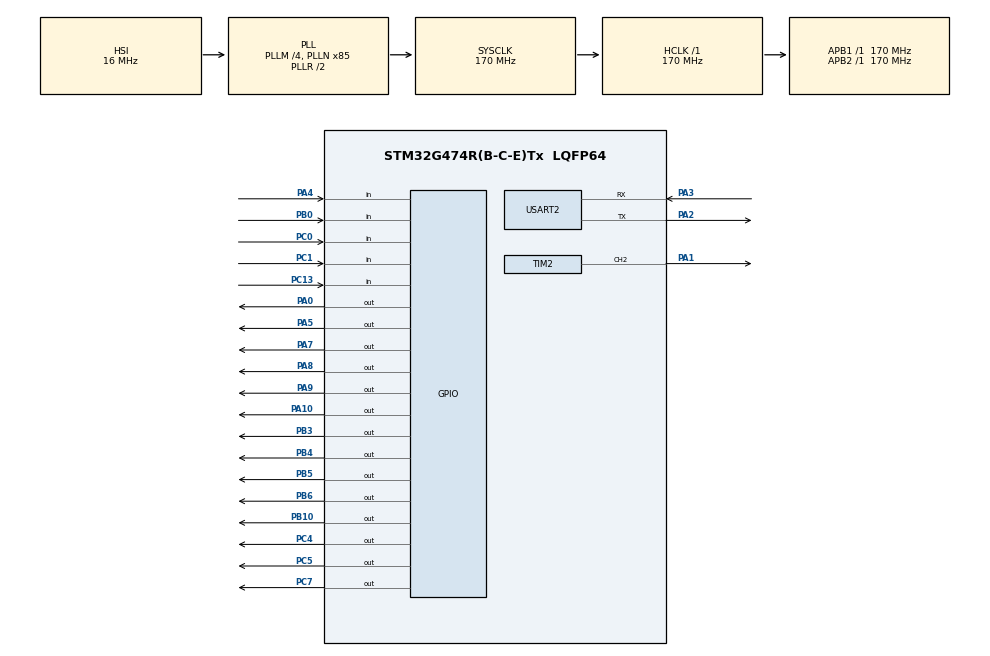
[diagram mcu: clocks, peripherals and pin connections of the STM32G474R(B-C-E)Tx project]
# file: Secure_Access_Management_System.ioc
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FREERTOS.Tasks01=AccessControl,24,256,AccessControlTask,Default,NULL,Dynamic,NULL,NULL;Button,32,128,ButtonTask,Default,NULL,Dynamic,NULL,NULL;KeyboardTask,40,128,KeyboardInput,Default,NULL,Dynamic,NULL,NULL;ServoMotor,41,128,ServoTask,Default,NULL,Dynamic,NULL,NULL;LCDtask,40,128,lcdTask,Default,NULL,Dynamic,NULL,NULL
Mcu.Family=STM32G4
Mcu.Name=STM32G474R(B-C-E)Tx
Mcu.Package=LQFP64
NVIC.PriorityGroup=NVIC_PRIORITYGROUP_4
NVIC.TIM6_DAC_IRQn=true\:15\:0\:false\:false\:true\:false\:false\:true\:true
NVIC.TimeBase=TIM6_DAC_IRQn
NVIC.TimeBaseIP=TIM6
NVIC.USART2_IRQn=true\:5\:0\:false\:false\:true\:true\:true\:true\:true
PA0.Signal=GPIO_Output
PA1.Signal=S_TIM2_CH2
PA10.Signal=GPIO_Output
PA13.Mode=Serial_Wire
PA13.Signal=SYS_JTMS-SWDIO
PA14.Mode=Serial_Wire
PA14.Signal=SYS_JTCK-SWCLK
PA2.Mode=Asynchronous
PA2.Signal=USART2_TX
PA3.Mode=Asynchronous
PA3.Signal=USART2_RX
PA4.GPIO_PuPd=GPIO_PULLUP
PA4.Signal=GPIO_Input
PA5.Signal=GPIO_Output
PA7.Signal=GPIO_Output
PA8.Signal=GPIO_Output
PA9.Signal=GPIO_Output
PB0.GPIO_PuPd=GPIO_PULLUP
PB0.Signal=GPIO_Input
PB10.Signal=GPIO_Output
PB3.Signal=GPIO_Output
PB4.Signal=GPIO_Output
PB5.Signal=GPIO_Output
PB6.Signal=GPIO_Output
PC0.GPIO_PuPd=GPIO_PULLUP
PC0.Signal=GPIO_Input
PC1.GPIO_PuPd=GPIO_PULLUP
PC1.Signal=GPIO_Input
PC13.GPIO_PuPd=GPIO_PULLDOWN
PC13.Signal=GPIO_Input
PC4.Signal=GPIO_Output
PC5.Signal=GPIO_Output
PC7.Signal=GPIO_Output
PF0-OSC_IN.Mode=HSE-External-Oscillator
PF0-OSC_IN.Signal=RCC_OSC_IN
PF1-OSC_OUT.Mode=HSE-External-Oscillator
PF1-OSC_OUT.Signal=RCC_OSC_OUT
ProjectManager.HeapSize=0x200
ProjectManager.StackSize=0x400
ProjectManager.TargetToolchain=STM32CubeIDE
RCC.ADC12Freq_Value=170000000
RCC.ADC345Freq_Value=170000000
RCC.AHBFreq_Value=170000000
RCC.APB1Freq_Value=170000000
RCC.APB1TimFreq_Value=170000000
RCC.APB2Freq_Value=170000000
RCC.APB2TimFreq_Value=170000000
RCC.CortexFreq_Value=170000000
RCC.EXTERNAL_CLOCK_VALUE=12288000
RCC.HCLKFreq_Value=170000000
RCC.HSE_VALUE=24000000
RCC.HSI48_VALUE=48000000
RCC.HSI_VALUE=16000000
RCC.LSE_VALUE=32768
RCC.PLLM=RCC_PLLM_DIV4
RCC.PLLN=85
RCC.RTCClockSelection=RCC_RTCCLKSOURCE_LSE
RCC.SYSCLKFreq_VALUE=170000000
RCC.SYSCLKSource=RCC_SYSCLKSOURCE_PLLCLK
RCC.USBFreq_Value=170000000
RCC.VCOOutputFreq_Value=340000000
SH.S_TIM2_CH2.0=TIM2_CH2,PWM Generation2 CH2
TIM1.PeriodNoDither=0xffff
TIM1.Prescaler=170-1
TIM2.Channel-PWM\ Generation2\ CH2=TIM_CHANNEL_2
TIM2.PeriodNoDither=10000-1
TIM2.Prescaler=340-1
USART2.VirtualMode-Asynchronous=VM_ASYNC
VP_FREERTOS_VS_CMSIS_V2.Mode=CMSIS_V2
VP_SYS_VS_DBSignals.Mode=DisableDeadBatterySignals
VP_SYS_VS_tim6.Mode=TIM6
VP_TIM1_VS_ClockSourceINT.Mode=Internal
VP_TIM2_VS_ClockSourceINT.Mode=Internal
board=NUCLEO-G474RE

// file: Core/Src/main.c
/* USER CODE BEGIN Header */
/**
  ******************************************************************************
  * @file           : main.c
  * @brief          : Main program body
  ******************************************************************************
  * @attention
  *
  * Copyright (c) 2026 STMicroelectronics.
  * All rights reserved.
  *
  * This software is licensed under terms that can be found in the LICENSE file
  * in the root directory of this software component.
  * If no LICENSE file comes with this software, it is provided AS-IS.
  *
  ******************************************************************************
  */
/* USER CODE END Header */

#include "main.h"
#include "cmsis_os.h"

/* USER CODE BEGIN Includes */

#include <stdio.h>
#include <string.h>
#include "LCD1602.h"
#include <stdint.h>

/* USER CODE END Includes */

/* USER CODE BEGIN PD */
#define PIN_LENGTH 4
#define MAX_NAME_LEN 16
#define MAX_USERS 10
#define LOCKOUT_MS 10000
#define AUTO_LOCK_MS 5000
/* USER CODE END PD */

/* USER CODE BEGIN PTD */
typedef enum
{
    STATE_LOCKED,
    STATE_UNLOCKED
} AccessState_t;

typedef struct {
    char pin[PIN_LENGTH + 1];       // 4-digit PIN + null terminator
    char name[MAX_NAME_LEN + 1];    // User's name
    uint8_t active;                 // 1 if this user slot is in use
} UserAccount_t;

typedef enum
{
    UART_MODE_MENU,         // Waiting for the user to select a menu option
    UART_MODE_ADD_NAME,     // Waiting for the user to enter a new user's name
    UART_MODE_ADD_PIN       // Waiting for the user to enter the new user's PIN
} UartMode_t;
/* USER CODE END PTD */

TIM_HandleTypeDef htim1;
TIM_HandleTypeDef htim2;

UART_HandleTypeDef huart2;

/* Definitions for AccessControl */
osThreadId_t AccessControlHandle;
const osThreadAttr_t AccessControl_attributes = {
  .name = "AccessControl",
  .priority = (osPriority_t) osPriorityNormal,
  .stack_size = 256 * 4
};
/* Definitions for Button */
osThreadId_t ButtonHandle;
const osThreadAttr_t Button_attributes = {
  .name = "Button",
  .priority = (osPriority_t) osPriorityAboveNormal,
  .stack_size = 128 * 4
};
/* Definitions for KeyboardTask */
osThreadId_t KeyboardTaskHandle;
const osThreadAttr_t KeyboardTask_attributes = {
  .name = "KeyboardTask",
  .priority = (osPriority_t) osPriorityHigh,
  .stack_size = 128 * 4
};
/* Definitions for ServoMotor */
osThreadId_t ServoMotorHandle;
const osThreadAttr_t ServoMotor_attributes = {
  .name = "ServoMotor",
  .priority = (osPriority_t) osPriorityHigh1,
  .stack_size = 128 * 4
};
/* Definitions for LCDtask */
osThreadId_t LCDtaskHandle;
const osThreadAttr_t LCDtask_attributes = {
  .name = "LCDtask",
  .priority = (osPriority_t) osPriorityHigh,
  .stack_size = 128 * 4
};

/* USER CODE BEGIN PV */
// Current lock state of the system
volatile AccessState_t accessState = STATE_LOCKED;

// UART receive buffer and input tracking
uint8_t rx_idx;
uint8_t rx_data[1];
uint8_t rx_buffer[100];
uint8_t transfer_cplt;

// Keypad PIN input state
volatile uint8_t pin_ready = 0;
char pin_entered[PIN_LENGTH + 1] = {0};
volatile uint8_t enteringPin = 0;

// Failed PIN attempts and lockout state
volatile uint8_t failedAttempts = 0;
volatile uint8_t lockoutActive = 0;
uint32_t lockoutEndTick = 0;

// UART menu state and temporary new user data
volatile UartMode_t uartMode = UART_MODE_MENU;
char newUserName[MAX_NAME_LEN + 1] = {0};

// Auto-lock state and timing
volatile uint8_t autoLockActive = 0;
uint32_t autoLockEndTick = 0;

// Keypad mapping for the 4x4 matrix
const char keypad_map[4][4] = {
    {'1','4','7','*'},
    {'2','5','8','0'},
    {'3','6','9','#'},
    {'A','B','C','D'}
};
/* USER CODE END PV */

void SystemClock_Config(void);
static void MX_GPIO_Init(void);
static void MX_USART2_UART_Init(void);
static void MX_TIM2_Init(void);
static void MX_TIM1_Init(void);
void AccessControlTask(void *argument);
void ButtonTask(void *argument);
void KeyboardInput(void *argument);
void ServoTask(void *argument);
void lcdTask(void *argument);

static UserAccount_t userDb[MAX_USERS];
static int Db_AddUser(const char *name, const char *pin);
static void UART_ShowUsers(void);

int main(void)
{

  /* MCU Configuration--------------------------------------------------------*/

  /* Reset of all peripherals, Initializes the Flash interface and the Systick. */
  HAL_Init();

  /* Configure the system clock */
  SystemClock_Config();

  /* Initialize all configured peripherals */
  MX_GPIO_Init();
  MX_USART2_UART_Init();
  MX_TIM2_Init();
  MX_TIM1_Init();
  /* USER CODE BEGIN 2 */

  HAL_TIM_PWM_Start(&htim2, TIM_CHANNEL_2);

  HAL_UART_Receive_IT(&huart2, rx_data, 1);

  HAL_TIM_Base_Start(&htim1);

  /* USER CODE END 2 */

  /* Init scheduler */
  osKernelInitialize();

  /* Create the thread(s) */
  /* creation of AccessControl */
  AccessControlHandle = osThreadNew(AccessControlTask, NULL, &AccessControl_attributes);

  /* creation of Button */
  ButtonHandle = osThreadNew(ButtonTask, NULL, &Button_attributes);

  /* creation of KeyboardTask */
  KeyboardTaskHandle = osThreadNew(KeyboardInput, NULL, &KeyboardTask_attributes);

  /* creation of ServoMotor */
  ServoMotorHandle = osThreadNew(ServoTask, NULL, &ServoMotor_attributes);

  /* creation of LCDtask */
  LCDtaskHandle = osThreadNew(lcdTask, NULL, &LCDtask_attributes);

  /* Start scheduler */
  osKernelStart();

  /* We should never get here as control is now taken by the scheduler */

  /* Infinite loop */
  while (1)
  {

  }
}

void SystemClock_Config(void)
{
  RCC_OscInitTypeDef RCC_OscInitStruct = {0};
  RCC_ClkInitTypeDef RCC_ClkInitStruct = {0};

  /** Configure the main internal regulator output voltage
  */
  HAL_PWREx_ControlVoltageScaling(PWR_REGULATOR_VOLTAGE_SCALE1_BOOST);

  /** Initializes the RCC Oscillators according to the specified parameters
  * in the RCC_OscInitTypeDef structure.
  */
  RCC_OscInitStruct.OscillatorType = RCC_OSCILLATORTYPE_HSI;
  RCC_OscInitStruct.HSIState = RCC_HSI_ON;
  RCC_OscInitStruct.HSICalibrationValue = RCC_HSICALIBRATION_DEFAULT;
  RCC_OscInitStruct.PLL.PLLState = RCC_PLL_ON;
  RCC_OscInitStruct.PLL.PLLSource = RCC_PLLSOURCE_HSI;
  RCC_OscInitStruct.PLL.PLLM = RCC_PLLM_DIV4;
  RCC_OscInitStruct.PLL.PLLN = 85;
  RCC_OscInitStruct.PLL.PLLP = RCC_PLLP_DIV2;
  RCC_OscInitStruct.PLL.PLLQ = RCC_PLLQ_DIV2;
  RCC_OscInitStruct.PLL.PLLR = RCC_PLLR_DIV2;
  if (HAL_RCC_OscConfig(&RCC_OscInitStruct) != HAL_OK)
  {
    Error_Handler();
  }

  /** Initializes the CPU, AHB and APB buses clocks
  */
  RCC_ClkInitStruct.ClockType = RCC_CLOCKTYPE_HCLK|RCC_CLOCKTYPE_SYSCLK
                              |RCC_CLOCKTYPE_PCLK1|RCC_CLOCKTYPE_PCLK2;
  RCC_ClkInitStruct.SYSCLKSource = RCC_SYSCLKSOURCE_PLLCLK;
  RCC_ClkInitStruct.AHBCLKDivider = RCC_SYSCLK_DIV1;
  RCC_ClkInitStruct.APB1CLKDivider = RCC_HCLK_DIV1;
  RCC_ClkInitStruct.APB2CLKDivider = RCC_HCLK_DIV1;

  if (HAL_RCC_ClockConfig(&RCC_ClkInitStruct, FLASH_LATENCY_4) != HAL_OK)
  {
    Error_Handler();
  }
}

static void MX_TIM1_Init(void)
{

  TIM_ClockConfigTypeDef sClockSourceConfig = {0};
  TIM_MasterConfigTypeDef sMasterConfig = {0};

  htim1.Instance = TIM1;
  htim1.Init.Prescaler = 170-1;
  htim1.Init.CounterMode = TIM_COUNTERMODE_UP;
  htim1.Init.Period = 65535;
  htim1.Init.ClockDivision = TIM_CLOCKDIVISION_DIV1;
  htim1.Init.RepetitionCounter = 0;
  htim1.Init.AutoReloadPreload = TIM_AUTORELOAD_PRELOAD_DISABLE;
  if (HAL_TIM_Base_Init(&htim1) != HAL_OK)
  {
    Error_Handler();
  }
  sClockSourceConfig.ClockSource = TIM_CLOCKSOURCE_INTERNAL;
  if (HAL_TIM_ConfigClockSource(&htim1, &sClockSourceConfig) != HAL_OK)
  {
    Error_Handler();
  }
  sMasterConfig.MasterOutputTrigger = TIM_TRGO_RESET;
  sMasterConfig.MasterOutputTrigger2 = TIM_TRGO2_RESET;
  sMasterConfig.MasterSlaveMode = TIM_MASTERSLAVEMODE_DISABLE;
  if (HAL_TIMEx_MasterConfigSynchronization(&htim1, &sMasterConfig) != HAL_OK)
  {
    Error_Handler();
  }

}

static void MX_TIM2_Init(void)
{

  TIM_ClockConfigTypeDef sClockSourceConfig = {0};
  TIM_MasterConfigTypeDef sMasterConfig = {0};
  TIM_OC_InitTypeDef sConfigOC = {0};

  htim2.Instance = TIM2;
  htim2.Init.Prescaler = 340-1;
  htim2.Init.CounterMode = TIM_COUNTERMODE_UP;
  htim2.Init.Period = 9999;
  htim2.Init.ClockDivision = TIM_CLOCKDIVISION_DIV1;
  htim2.Init.AutoReloadPreload = TIM_AUTORELOAD_PRELOAD_DISABLE;
  if (HAL_TIM_Base_Init(&htim2) != HAL_OK)
  {
    Error_Handler();
  }
  sClockSourceConfig.ClockSource = TIM_CLOCKSOURCE_INTERNAL;
  if (HAL_TIM_ConfigClockSource(&htim2, &sClockSourceConfig) != HAL_OK)
  {
    Error_Handler();
  }
  if (HAL_TIM_PWM_Init(&htim2) != HAL_OK)
  {
    Error_Handler();
  }
  sMasterConfig.MasterOutputTrigger = TIM_TRGO_RESET;
  sMasterConfig.MasterSlaveMode = TIM_MASTERSLAVEMODE_DISABLE;
  if (HAL_TIMEx_MasterConfigSynchronization(&htim2, &sMasterConfig) != HAL_OK)
  {
    Error_Handler();
  }
  sConfigOC.OCMode = TIM_OCMODE_PWM1;
  sConfigOC.Pulse = 0;
  sConfigOC.OCPolarity = TIM_OCPOLARITY_HIGH;
  sConfigOC.OCFastMode = TIM_OCFAST_DISABLE;
  if (HAL_TIM_PWM_ConfigChannel(&htim2, &sConfigOC, TIM_CHANNEL_2) != HAL_OK)
  {
    Error_Handler();
  }
  HAL_TIM_MspPostInit(&htim2);

}

static void MX_USART2_UART_Init(void)
{

  huart2.Instance = USART2;
  huart2.Init.BaudRate = 115200;
  huart2.Init.WordLength = UART_WORDLENGTH_8B;
  huart2.Init.StopBits = UART_STOPBITS_1;
  huart2.Init.Parity = UART_PARITY_NONE;
  huart2.Init.Mode = UART_MODE_TX_RX;
  huart2.Init.HwFlowCtl = UART_HWCONTROL_NONE;
  huart2.Init.OverSampling = UART_OVERSAMPLING_16;
  huart2.Init.OneBitSampling = UART_ONE_BIT_SAMPLE_DISABLE;
  huart2.Init.ClockPrescaler = UART_PRESCALER_DIV1;
  huart2.AdvancedInit.AdvFeatureInit = UART_ADVFEATURE_NO_INIT;
  if (HAL_UART_Init(&huart2) != HAL_OK)
  {
    Error_Handler();
  }
  if (HAL_UARTEx_SetTxFifoThreshold(&huart2, UART_TXFIFO_THRESHOLD_1_8) != HAL_OK)
  {
    Error_Handler();
  }
  if (HAL_UARTEx_SetRxFifoThreshold(&huart2, UART_RXFIFO_THRESHOLD_1_8) != HAL_OK)
  {
    Error_Handler();
  }
  if (HAL_UARTEx_DisableFifoMode(&huart2) != HAL_OK)
  {
    Error_Handler();
  }

}

static void MX_GPIO_Init(void)
{
  GPIO_InitTypeDef GPIO_InitStruct = {0};

  /* GPIO Ports Clock Enable */
  __HAL_RCC_GPIOC_CLK_ENABLE();
  __HAL_RCC_GPIOF_CLK_ENABLE();
  __HAL_RCC_GPIOA_CLK_ENABLE();
  __HAL_RCC_GPIOB_CLK_ENABLE();

  /*Configure GPIO pin Output Level */
  HAL_GPIO_WritePin(GPIOA, GPIO_PIN_0|GPIO_PIN_5|GPIO_PIN_7|GPIO_PIN_8
                          |GPIO_PIN_9|GPIO_PIN_10, GPIO_PIN_RESET);

  /*Configure GPIO pin Output Level */
  HAL_GPIO_WritePin(GPIOC, GPIO_PIN_4|GPIO_PIN_5|GPIO_PIN_7, GPIO_PIN_RESET);

  /*Configure GPIO pin Output Level */
  HAL_GPIO_WritePin(GPIOB, GPIO_PIN_10|GPIO_PIN_3|GPIO_PIN_4|GPIO_PIN_5
                          |GPIO_PIN_6, GPIO_PIN_RESET);

  /*Configure GPIO pin : PC13 */
  GPIO_InitStruct.Pin = GPIO_PIN_13;
  GPIO_InitStruct.Mode = GPIO_MODE_INPUT;
  GPIO_InitStruct.Pull = GPIO_PULLDOWN;
  HAL_GPIO_Init(GPIOC, &GPIO_InitStruct);

  /*Configure GPIO pins : PC0 PC1 */
  GPIO_InitStruct.Pin = GPIO_PIN_0|GPIO_PIN_1;
  GPIO_InitStruct.Mode = GPIO_MODE_INPUT;
  GPIO_InitStruct.Pull = GPIO_PULLUP;
  HAL_GPIO_Init(GPIOC, &GPIO_InitStruct);

  /*Configure GPIO pins : PA0 PA5 PA7 PA8
                           PA9 PA10 */
  GPIO_InitStruct.Pin = GPIO_PIN_0|GPIO_PIN_5|GPIO_PIN_7|GPIO_PIN_8
                          |GPIO_PIN_9|GPIO_PIN_10;
  GPIO_InitStruct.Mode = GPIO_MODE_OUTPUT_PP;
  GPIO_InitStruct.Pull = GPIO_NOPULL;
  GPIO_InitStruct.Speed = GPIO_SPEED_FREQ_LOW;
  HAL_GPIO_Init(GPIOA, &GPIO_InitStruct);

  /*Configure GPIO pin : PA4 */
  GPIO_InitStruct.Pin = GPIO_PIN_4;
  GPIO_InitStruct.Mode = GPIO_MODE_INPUT;
  GPIO_InitStruct.Pull = GPIO_PULLUP;
  HAL_GPIO_Init(GPIOA, &GPIO_InitStruct);

  /*Configure GPIO pins : PC4 PC5 PC7 */
  GPIO_InitStruct.Pin = GPIO_PIN_4|GPIO_PIN_5|GPIO_PIN_7;
  GPIO_InitStruct.Mode = GPIO_MODE_OUTPUT_PP;
  GPIO_InitStruct.Pull = GPIO_NOPULL;
  GPIO_InitStruct.Speed = GPIO_SPEED_FREQ_LOW;
  HAL_GPIO_Init(GPIOC, &GPIO_InitStruct);

  /*Configure GPIO pin : PB0 */
  GPIO_InitStruct.Pin = GPIO_PIN_0;
  GPIO_InitStruct.Mode = GPIO_MODE_INPUT;
  GPIO_InitStruct.Pull = GPIO_PULLUP;
  HAL_GPIO_Init(GPIOB, &GPIO_InitStruct);

  /*Configure GPIO pins : PB10 PB3 PB4 PB5
                           PB6 */
  GPIO_InitStruct.Pin = GPIO_PIN_10|GPIO_PIN_3|GPIO_PIN_4|GPIO_PIN_5
                          |GPIO_PIN_6;
  GPIO_InitStruct.Mode = GPIO_MODE_OUTPUT_PP;
  GPIO_InitStruct.Pull = GPIO_NOPULL;
  GPIO_InitStruct.Speed = GPIO_SPEED_FREQ_LOW;
  HAL_GPIO_Init(GPIOB, &GPIO_InitStruct);

}

/* USER CODE BEGIN 4 */
static int Db_AddUser(const char *name, const char *pin)
{
    // Prevent multiple users from having the same PIN
    for (int i = 0; i < MAX_USERS; i++)
    {
        if (userDb[i].active && strcmp(userDb[i].pin, pin) == 0)
        {
            return -2;   // PIN already exists
        }
    }

    // Store the new user in the first available slot
    for (int i = 0; i < MAX_USERS; i++)
    {
        if (!userDb[i].active)
        {
            strncpy(userDb[i].name, name, MAX_NAME_LEN);
            userDb[i].name[MAX_NAME_LEN] = '\0';

            strncpy(userDb[i].pin, pin, PIN_LENGTH);
            userDb[i].pin[PIN_LENGTH] = '\0';

            userDb[i].active = 1;
            return i;
        }
    }
    return -1;   // No available slots for the user
}

// Displays the active user list in the terminal over UART
static void UART_ShowUsers(void)
{
    char line[64];

    HAL_UART_Transmit(&huart2,
                      (uint8_t*)"\r\n--- User List ---\r\n",
                      strlen("\r\n--- User List ---\r\n"),
                      HAL_MAX_DELAY);

    for (int i = 0; i < MAX_USERS; i++)
    {
        if (userDb[i].active)
        {
            snprintf(line, sizeof(line), "%d. %s - PIN: %s\r\n",
                     i + 1, userDb[i].name, userDb[i].pin);
            HAL_UART_Transmit(&huart2, (uint8_t*)line, strlen(line), HAL_MAX_DELAY);
        }
    }
}

// Displays the masked PIN on the LCD as the user enters it.
static void LCD_ShowMaskedPin(uint8_t count)
{
    char stars[PIN_LENGTH + 1] = {0};

    // Build a masked string of asterisks based on the number of entered digits
    for (uint8_t i = 0; i < count && i < PIN_LENGTH; i++)
    {
        stars[i] = '*';
    }

    lcd_clear();
    lcd_put_cur(0, 0);
    lcd_send_string("ENTER PIN:");

    lcd_put_cur(1, 0);
    lcd_send_string("                ");
    lcd_put_cur(1, 0);
    lcd_send_string(stars);
}

// Scans the 4x4 keypad and returns the character of the pressed key, or '\0' if no key is pressed.
char scan_keypad(void)
{
    GPIO_TypeDef* row_ports[] = {GPIOA, GPIOC, GPIOB, GPIOA};
    uint16_t row_pins[] = {GPIO_PIN_9, GPIO_PIN_7, GPIO_PIN_6, GPIO_PIN_7};

    for (int row = 0; row < 4; row++)
    {
        // Set all rows HIGH before scanning the current row
        HAL_GPIO_WritePin(GPIOA, GPIO_PIN_9, GPIO_PIN_SET);
        HAL_GPIO_WritePin(GPIOC, GPIO_PIN_7, GPIO_PIN_SET);
        HAL_GPIO_WritePin(GPIOB, GPIO_PIN_6, GPIO_PIN_SET);
        HAL_GPIO_WritePin(GPIOA, GPIO_PIN_7, GPIO_PIN_SET);

        // Pull the current row LOW
        HAL_GPIO_WritePin(row_ports[row], row_pins[row], GPIO_PIN_RESET);

        // A LOW column indicates a pressed key in the current row
        if (HAL_GPIO_ReadPin(GPIOB, GPIO_PIN_0) == GPIO_PIN_RESET) return keypad_map[row][0];
        if (HAL_GPIO_ReadPin(GPIOA, GPIO_PIN_4) == GPIO_PIN_RESET) return keypad_map[row][1];
        if (HAL_GPIO_ReadPin(GPIOC, GPIO_PIN_1) == GPIO_PIN_RESET) return keypad_map[row][2];
        if (HAL_GPIO_ReadPin(GPIOC, GPIO_PIN_0) == GPIO_PIN_RESET) return keypad_map[row][3];
    }
    return '\0'; // No key pressed
}

// Displays the menu options in the UART terminal
void PrintMenu(void)
{
    const char *menu =
        "\r\n--- Secure Access System ---\r\n\n"
        "1 - Unlock door\r\n"
        "2 - Lock door\r\n"
        "3 - Status\r\n"
        "4 - Add user\r\n"
        "5 - View users\r\n"
        "> ";

    HAL_UART_Transmit(&huart2, (uint8_t*)menu, strlen(menu), HAL_MAX_DELAY);
}

// Clears UART terminal screen
void ClearScreen(void)
{
    HAL_UART_Transmit(&huart2, (uint8_t*)"\033[2J\033[H", 7, HAL_MAX_DELAY);
}

// Display the current access state on the LCD
static void LCD_ShowState(AccessState_t state)
{
    lcd_clear();
    lcd_put_cur(0, 0);
    lcd_send_string(" ACCESS  SYSTEM");
    lcd_put_cur(1, 0);

    if (state == STATE_LOCKED)
    {
        lcd_send_string("     LOCKED");
    }
    else
    {
        lcd_send_string("    UNLOCKED");
    }
}

// Initialises the user database
static void Db_Init(void)
{
    memset(userDb, 0, sizeof(userDb));

    strcpy(userDb[0].pin, "4567");
    strcpy(userDb[0].name, "User1");
    userDb[0].active = 1;

    strcpy(userDb[1].pin, "4444");
    strcpy(userDb[1].name, "User2");
    userDb[1].active = 1;

    strcpy(userDb[2].pin, "1111");
    strcpy(userDb[2].name, "User3");
    userDb[2].active = 1;

    strcpy(userDb[3].pin, "1234");
    strcpy(userDb[3].name, "User4");
    userDb[3].active = 1;
}

// Searches the database for a matching pin
static int Db_FindByPin(const char *pin)
{
    for (int i = 0; i < MAX_USERS; i++)
    {
        if (userDb[i].active && strcmp(userDb[i].pin, pin) == 0)
            return i;
    }
    return -1;
}

/* Handles received UART characters using interrupt-driven input
 * Characters are added to the receive buffer until ENTER is pressed.
 * Line-feed characters are ignored and input is echoed back to the terminal.
*/
void HAL_UART_RxCpltCallback(UART_HandleTypeDef *huart)
{
  /* Prevent unused argument(s) compilation warning */
  UNUSED(huart);

  if (huart->Instance == USART2)
  {
      // Ignore line-feed characters
      if (rx_data[0] == '\n')
      {
          // do nothing
      }
      // ENTER pressed - terminate the string and mark input as complete
      else if (rx_data[0] == '\r')
      {
          rx_buffer[rx_idx] = '\0';
          rx_idx = 0;
          transfer_cplt = 1;

          HAL_UART_Transmit(&huart2, (uint8_t*)"\r\n", 2, HAL_MAX_DELAY);
      }
      else
      {
          // Store the received character if space remains in the buffer
          if (rx_idx < sizeof(rx_buffer) - 1)
          {
              rx_buffer[rx_idx++] = rx_data[0];

              // Echo the received character back to the terminal
              HAL_UART_Transmit(&huart2, rx_data, 1, HAL_MAX_DELAY); // echo
          }
      }

      // Re-enable interrupt reception for the next character
      HAL_UART_Receive_IT(&huart2, rx_data, 1);
  }
}

/* USER CODE END 4 */

void AccessControlTask(void *argument)
{
  /* USER CODE BEGIN 5 */
    accessState = STATE_LOCKED; // Initialise system state
    lcd_init(); // Initialise the LCD
    lcd_clear(); // Clear the LCD screen
    LCD_ShowState(STATE_LOCKED); // Initialise LCD
    Db_Init(); // Initialise the user database

    // Set LEDs to match default state
    HAL_GPIO_WritePin(GPIOA, GPIO_PIN_8, GPIO_PIN_SET);    // Red ON
    HAL_GPIO_WritePin(GPIOB, GPIO_PIN_3, GPIO_PIN_RESET);  // Green OFF

    // Display the UART menu
    ClearScreen();
    PrintMenu();

    uint32_t lastRemaining = 999;

    for (;;)
    {
        // Handle lockout countdown
        if (lockoutActive)
        {
            uint32_t now = HAL_GetTick();

            if (now >= lockoutEndTick)
            {
                lockoutActive = 0;
                failedAttempts = 0;
                lastRemaining = 999;
                enteringPin = 0;

                lcd_clear();
                lcd_put_cur(0, 0);
                lcd_send_string("LOCKOUT ENDED");
                lcd_put_cur(1, 0);
                lcd_send_string("Try again");

                HAL_UART_Transmit(&huart2,
                                  (uint8_t*)"\r\nLockout ended\r\n",
                                  strlen("\r\nLockout ended\r\n"),
                                  HAL_MAX_DELAY);

                osDelay(1500);
                LCD_ShowState(accessState);
                PrintMenu();
            }
            else
            {
                uint32_t remaining = (lockoutEndTick - now + 999) / 1000;

                if (remaining != lastRemaining)
                {
                    lastRemaining = remaining;

                    lcd_clear();
                    lcd_put_cur(0, 0);
                    lcd_send_string("LOCKED OUT");

                    char line[17];
                    snprintf(line, sizeof(line), "Wait %lus", remaining);
                    lcd_put_cur(1, 0);
                    lcd_send_string("                ");
                    lcd_put_cur(1, 0);
                    lcd_send_string(line);
                }

                osDelay(100);
                continue;
            }
        }
        // Automatically relock the system after the timeout
        if (autoLockActive && accessState == STATE_UNLOCKED)
        {
            if (HAL_GetTick() >= autoLockEndTick)
            {
                autoLockActive = 0;
                accessState = STATE_LOCKED;

                HAL_GPIO_WritePin(GPIOA, GPIO_PIN_8, GPIO_PIN_SET);     // Red ON
                HAL_GPIO_WritePin(GPIOB, GPIO_PIN_3, GPIO_PIN_RESET);   // Green OFF

                lcd_clear();
                lcd_put_cur(0, 0);
                lcd_send_string("AUTO LOCKED");
                lcd_put_cur(1, 0);
                lcd_send_string("Door secured");

                HAL_UART_Transmit(&huart2,
                                  (uint8_t*)"\r\nAuto-lock activated\r\n",
                                  strlen("\r\nAuto-lock activated\r\n"),
                                  HAL_MAX_DELAY);

                osDelay(1500);
                LCD_ShowState(accessState);
                PrintMenu();
            }
        }

        // Validate a PIN submitted from the keypad
        if (pin_ready)
        {
            pin_ready = 0;
            enteringPin = 0;

            int userIdx = Db_FindByPin(pin_entered);

            if (userIdx >= 0)
            {
                failedAttempts = 0;
                accessState = STATE_UNLOCKED;

                autoLockActive = 1;
                autoLockEndTick = HAL_GetTick() + AUTO_LOCK_MS;

                HAL_GPIO_WritePin(GPIOB, GPIO_PIN_3, GPIO_PIN_SET);     // Green ON
                HAL_GPIO_WritePin(GPIOA, GPIO_PIN_8, GPIO_PIN_RESET);   // Red OFF

                lcd_clear();
                lcd_put_cur(0, 0);
                lcd_send_string("ACCESS GRANTED");
                lcd_put_cur(1, 0);
                lcd_send_string(userDb[userIdx].name);

                char msg[64];
                snprintf(msg, sizeof(msg), "\r\nWelcome %s\r\n", userDb[userIdx].name);
                HAL_UART_Transmit(&huart2, (uint8_t*)msg, strlen(msg), HAL_MAX_DELAY);

                osDelay(1500);
                LCD_ShowState(accessState);
                PrintMenu();
            }
            else
            {
                accessState = STATE_LOCKED;
                failedAttempts++;

                HAL_GPIO_WritePin(GPIOA, GPIO_PIN_8, GPIO_PIN_SET);     // Red ON
                HAL_GPIO_WritePin(GPIOB, GPIO_PIN_3, GPIO_PIN_RESET);   // Green OFF

                if (failedAttempts >= 3)
                {
                    lockoutActive = 1;
                    lockoutEndTick = HAL_GetTick() + LOCKOUT_MS;
                    lastRemaining = 999;

                    lcd_clear();
                    lcd_put_cur(0, 0);
                    lcd_send_string("LOCKED OUT");
                    lcd_put_cur(1, 0);
                    lcd_send_string("Wait 10s");

                    HAL_UART_Transmit(&huart2,
                                      (uint8_t*)"\r\nToo many failed attempts. System locked for 10 seconds.\r\n",
                                      strlen("\r\nToo many failed attempts. System locked for 10 seconds.\r\n"),
                                      HAL_MAX_DELAY);

                    osDelay(1000);
                }
                else
                {
                    lcd_clear();
                    lcd_put_cur(0, 0);
                    lcd_send_string("ACCESS DENIED");

                    char line[17];
                    snprintf(line, sizeof(line), "Attempt %d of 3", failedAttempts);
                    lcd_put_cur(1, 0);
                    lcd_send_string("                ");
                    lcd_put_cur(1, 0);
                    lcd_send_string(line);

                    char msg[64];
                    snprintf(msg, sizeof(msg), "\r\nAccess denied (%d/3)\r\n", failedAttempts);
                    HAL_UART_Transmit(&huart2, (uint8_t*)msg, strlen(msg), HAL_MAX_DELAY);

                    osDelay(1500);
                    LCD_ShowState(accessState);
                    PrintMenu();
                }
            }
        }

        // Check if a UART transfer has completed
        if (transfer_cplt)
        {
            transfer_cplt = 0;

            // Handle commands entered from the main UART menu
            if (uartMode == UART_MODE_MENU)
            {
                if (strcmp((char*)rx_buffer, "1") == 0)
                {
                    accessState = STATE_UNLOCKED;
                    autoLockActive = 1;
                    autoLockEndTick = HAL_GetTick() + AUTO_LOCK_MS;

                    HAL_GPIO_WritePin(GPIOB, GPIO_PIN_3, GPIO_PIN_SET);
                    HAL_GPIO_WritePin(GPIOA, GPIO_PIN_8, GPIO_PIN_RESET);

                    HAL_UART_Transmit(&huart2,
                                      (uint8_t*)"Access granted\r\n",
                                      strlen("Access granted\r\n"),
                                      HAL_MAX_DELAY);

                    LCD_ShowState(accessState);
                    osDelay(1000);
                    ClearScreen();
                    PrintMenu();
                }
                else if (strcmp((char*)rx_buffer, "2") == 0)
                {
                    accessState = STATE_LOCKED;
                    autoLockActive = 0;

                    HAL_GPIO_WritePin(GPIOA, GPIO_PIN_8, GPIO_PIN_SET);
                    HAL_GPIO_WritePin(GPIOB, GPIO_PIN_3, GPIO_PIN_RESET);

                    HAL_UART_Transmit(&huart2,
                                      (uint8_t*)"Access refused\r\n",
                                      strlen("Access refused\r\n"),
                                      HAL_MAX_DELAY);

                    LCD_ShowState(accessState);
                    osDelay(1000);
                    ClearScreen();
                    PrintMenu();
                }
                else if (strcmp((char*)rx_buffer, "3") == 0)
                {
                    if (accessState == STATE_LOCKED)
                    {
                        HAL_UART_Transmit(&huart2,
                                          (uint8_t*)"STATUS: LOCKED\r\n",
                                          strlen("STATUS: LOCKED\r\n"),
                                          HAL_MAX_DELAY);
                    }
                    else
                    {
                        HAL_UART_Transmit(&huart2,
                                          (uint8_t*)"STATUS: UNLOCKED\r\n",
                                          strlen("STATUS: UNLOCKED\r\n"),
                                          HAL_MAX_DELAY);
                    }

                    PrintMenu();
                }
                else if (strcmp((char*)rx_buffer, "4") == 0)
                {
                    uartMode = UART_MODE_ADD_NAME;

                    HAL_UART_Transmit(&huart2,
                                      (uint8_t*)"\r\nEnter new user name: ",
                                      strlen("\r\nEnter new user name: "),
                                      HAL_MAX_DELAY);
                }
                else if (strcmp((char*)rx_buffer, "5") == 0)
                {
                    UART_ShowUsers();
                    PrintMenu();
                }
                else
                {
                    HAL_UART_Transmit(&huart2,
                                      (uint8_t*)"Invalid option. Type 1, 2, 3, 4, or 5 then press ENTER.\r\n",
                                      strlen("Invalid option. Type 1, 2, 3, 4, or 5 then press ENTER.\r\n"),
                                      HAL_MAX_DELAY);
                    PrintMenu();
                }
            }
            // Store the name entered for a new user
            else if (uartMode == UART_MODE_ADD_NAME)
            {
                strncpy(newUserName, (char*)rx_buffer, MAX_NAME_LEN);
                newUserName[MAX_NAME_LEN] = '\0';

                uartMode = UART_MODE_ADD_PIN;

                HAL_UART_Transmit(&huart2,
                                  (uint8_t*)"Enter 4-digit PIN: ",
                                  strlen("Enter 4-digit PIN: "),
                                  HAL_MAX_DELAY);
            }
            // Validate the PIN entered for the new user
            else if (uartMode == UART_MODE_ADD_PIN)
            {
                if (strlen((char*)rx_buffer) != PIN_LENGTH)
                {
                    HAL_UART_Transmit(&huart2,
                                      (uint8_t*)"\r\nPIN must be exactly 4 digits.\r\nEnter 4-digit PIN: ",
                                      strlen("\r\nPIN must be exactly 4 digits.\r\nEnter 4-digit PIN: "),
                                      HAL_MAX_DELAY);
                }
                else
                {
                    uint8_t valid = 1;
                    for (int i = 0; i < PIN_LENGTH; i++)
                    {
                        if (rx_buffer[i] < '0' || rx_buffer[i] > '9')
                        {
                            valid = 0;
                            break;
                        }
                    }

                    if (!valid)
                    {
                        HAL_UART_Transmit(&huart2,
                                          (uint8_t*)"\r\nPIN must contain digits only.\r\nEnter 4-digit PIN: ",
                                          strlen("\r\nPIN must contain digits only.\r\nEnter 4-digit PIN: "),
                                          HAL_MAX_DELAY);
                    }
                    else
                    {
                        int result = Db_AddUser(newUserName, (char*)rx_buffer);

                        if (result >= 0)
                        {
                            char msg[64];
                            snprintf(msg, sizeof(msg), "\r\nUser '%s' added successfully.\r\n", newUserName);
                            HAL_UART_Transmit(&huart2, (uint8_t*)msg, strlen(msg), HAL_MAX_DELAY);
                        }
                        else if (result == -2)
                        {
                            HAL_UART_Transmit(&huart2,
                                              (uint8_t*)"\r\nThat PIN is already in use.\r\n",
                                              strlen("\r\nThat PIN is already in use.\r\n"),
                                              HAL_MAX_DELAY);
                        }
                        else
                        {
                            HAL_UART_Transmit(&huart2,
                                              (uint8_t*)"\r\nUser database full.\r\n",
                                              strlen("\r\nUser database full.\r\n"),
                                              HAL_MAX_DELAY);
                        }

                        uartMode = UART_MODE_MENU;
                        memset(newUserName, 0, sizeof(newUserName));

                        ClearScreen();
                        PrintMenu();
                    }
                }
            }
        }
        osDelay(10);
    }
    osThreadTerminate(NULL);
  /* USER CODE END 5 */
}

void ButtonTask(void *argument)
{
  /* USER CODE BEGIN ButtonTask */

  // Monitors the user button and briefly lights the status LED when pressed
  for(;;)
  {
	  if (HAL_GPIO_ReadPin(GPIOC, GPIO_PIN_13) == GPIO_PIN_RESET)
	  {
		  osDelay(30); // Debounce the button press

		  if (HAL_GPIO_ReadPin(GPIOC, GPIO_PIN_13) == GPIO_PIN_RESET)
		  {

            // Toggle the LED on PA5 for 1 second to indicate button press
			  HAL_GPIO_WritePin(GPIOA, GPIO_PIN_5, GPIO_PIN_SET);
		      osDelay(1000);
			  HAL_GPIO_WritePin(GPIOA, GPIO_PIN_5, GPIO_PIN_RESET);

              // Wait for button release
			  while (HAL_GPIO_ReadPin(GPIOC, GPIO_PIN_13) == GPIO_PIN_RESET)
			  {
				  osDelay(10);
			  }
			  osDelay(30);
		  }
	  }
	  osDelay(10);
  }
  osThreadTerminate(NULL);
  /* USER CODE END ButtonTask */
}

void KeyboardInput(void *argument)
{
    /* USER CODE BEGIN KeyboardInput */

    // Keyboard input handling task
    char pin[PIN_LENGTH + 1] = {0};
    uint8_t idx = 0;

    for (;;)
    {
        // Ignore keypad input if the system is in lockout mode
        if (lockoutActive)
        {
            osDelay(100);
            continue;
        }

        char key = scan_keypad();

        if (key != '\0')
        {
            // Add numeric keys to the PIN buffer
            if (key >= '0' && key <= '9')
            {
                if (!enteringPin)
                {
                    enteringPin = 1;
                    idx = 0;
                    memset(pin, 0, sizeof(pin));
                }

                if (idx < PIN_LENGTH)
                {
                    pin[idx++] = key;
                    pin[idx] = '\0';
                    LCD_ShowMaskedPin(idx);
                }
            }
            else if (key == '*') // Clears the current PIN entry
            {
                idx = 0;
                memset(pin, 0, sizeof(pin));
                enteringPin = 1;
                LCD_ShowMaskedPin(0);
            }
            else if (key == '#') // Submits the entered PIN for validation
            {
                if (idx == PIN_LENGTH)
                {
                    strcpy(pin_entered, pin);
                    pin_ready = 1;
                }

                idx = 0;
                memset(pin, 0, sizeof(pin));
                enteringPin = 0;
            }

            // Wait for the key to be released before accepting another input
            while (scan_keypad() != '\0')
            {
                osDelay(10);
            }
            osDelay(50);
        }
        osDelay(20);
    }
}

void ServoTask(void *argument)
{
  /* USER CODE BEGIN ServoTask */

  // Servo motor control task
  // Initialise to an invalid state so the servo position is set on first run
  AccessState_t lastState = (AccessState_t)99;

  for(;;)
  {
      // Only update the servo position if the access state has changed
      if (accessState != lastState)
      {
          lastState = accessState;

          if (accessState == STATE_LOCKED)
          {
              // Move servo to locked position
              __HAL_TIM_SET_COMPARE(&htim2, TIM_CHANNEL_2, 1000);
              HAL_UART_Transmit(&huart2,
                                (uint8_t*)"Servo -> LOCKED\r\n",
                                strlen("Servo -> LOCKED\r\n"),
                                HAL_MAX_DELAY);
          }
          else if (accessState == STATE_UNLOCKED)
          {
              // Move servo to unlocked position
              __HAL_TIM_SET_COMPARE(&htim2, TIM_CHANNEL_2, 500);
              HAL_UART_Transmit(&huart2,
                                (uint8_t*)"Servo -> UNLOCKED\r\n",
                                strlen("Servo -> UNLOCKED\r\n"),
                                HAL_MAX_DELAY);
          }
      }
      osDelay(50);
  }
}

void lcdTask(void *argument)
{
    /* USER CODE BEGIN lcdTask */

    // Initialise to an invalid state so the LCD is updated on the first run
    AccessState_t lastState = (AccessState_t)99;

    for(;;)
    {
        // Only show the access state when the user is not entering a PIN
        // or the system is not displaying a state message
        if (!enteringPin && !lockoutActive)
        {
            if (accessState != lastState)
            {
                lastState = accessState;
                LCD_ShowState(accessState);
            }
        }
        osDelay(50);
    }
}

void HAL_TIM_PeriodElapsedCallback(TIM_HandleTypeDef *htim)
{
  if (htim->Instance == TIM6)
  {
    HAL_IncTick();
  }
}

void Error_Handler(void)
{
  __disable_irq();
  while (1)
  {
  }
}
